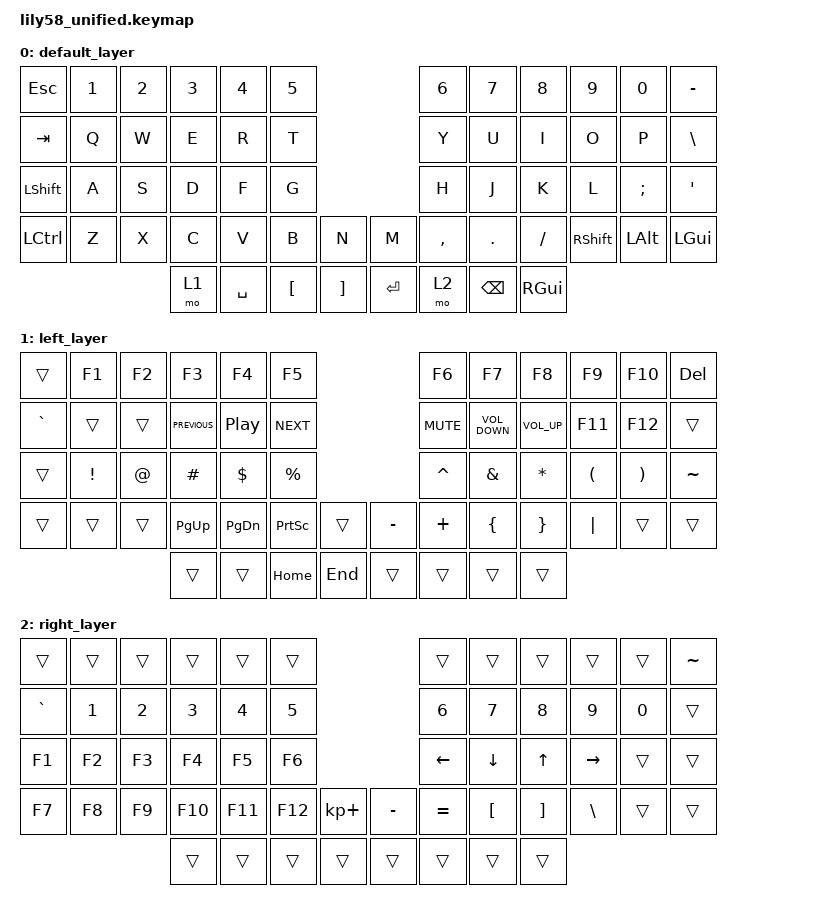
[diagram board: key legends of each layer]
/*
 * Copyright (c) 2024 The ZMK Contributors
 * SPDX-License-Identifier: MIT
 */

#include <behaviors.dtsi>
#include <dt-bindings/zmk/keys.h>

/ {
    macros {
        /* Lowercase accented vowels and special chars via Linux Ctrl+Shift+U sequence */

        m_a_acute: m_a_acute {
            compatible = "zmk,behavior-macro";
            #binding-cells = <0>;
            bindings =
                <&macro_press>,
                <&kp LCTRL &kp LSHFT>,
                <&macro_tap>,
                <&kp U>,
                <&macro_release>,
                <&kp LCTRL &kp LSHFT>,
                <&macro_tap>,
                <&kp E &kp N1>,
                <&macro_tap>,
                <&kp RET>;
        };

        m_e_acute: m_e_acute {
            compatible = "zmk,behavior-macro";
            #binding-cells = <0>;
            bindings =
                <&macro_press>,
                <&kp LCTRL &kp LSHFT>,
                <&macro_tap>,
                <&kp U>,
                <&macro_release>,
                <&kp LCTRL &kp LSHFT>,
                <&macro_tap>,
                <&kp E &kp N9>,
                <&macro_tap>,
                <&kp RET>;
        };

        m_i_acute: m_i_acute {
            compatible = "zmk,behavior-macro";
            #binding-cells = <0>;
            bindings =
                <&macro_press>,
                <&kp LCTRL &kp LSHFT>,
                <&macro_tap>,
                <&kp U>,
                <&macro_release>,
                <&kp LCTRL &kp LSHFT>,
                <&macro_tap>,
                <&kp E &kp D>,
                <&macro_tap>,
                <&kp RET>;
        };

        m_o_acute: m_o_acute {
            compatible = "zmk,behavior-macro";
            #binding-cells = <0>;
            bindings =
                <&macro_press>,
                <&kp LCTRL &kp LSHFT>,
                <&macro_tap>,
                <&kp U>,
                <&macro_release>,
                <&kp LCTRL &kp LSHFT>,
                <&macro_tap>,
                <&kp F &kp N3>,
                <&macro_tap>,
                <&kp RET>;
        };

        m_u_acute: m_u_acute {
            compatible = "zmk,behavior-macro";
            #binding-cells = <0>;
            bindings =
                <&macro_press>,
                <&kp LCTRL &kp LSHFT>,
                <&macro_tap>,
                <&kp U>,
                <&macro_release>,
                <&kp LCTRL &kp LSHFT>,
                <&macro_tap>,
                <&kp F &kp A>,
                <&macro_tap>,
                <&kp RET>;
        };

        m_enie: m_enie {
            compatible = "zmk,behavior-macro";
            #binding-cells = <0>;
            bindings =
                <&macro_press>,
                <&kp LCTRL &kp LSHFT>,
                <&macro_tap>,
                <&kp U>,
                <&macro_release>,
                <&kp LCTRL &kp LSHFT>,
                <&macro_tap>,
                <&kp F &kp N1>,
                <&macro_tap>,
                <&kp RET>;
        };

        m_inv_question: m_inv_question {
            compatible = "zmk,behavior-macro";
            #binding-cells = <0>;
            bindings =
                <&macro_press>,
                <&kp LCTRL &kp LSHFT>,
                <&macro_tap>,
                <&kp U>,
                <&macro_release>,
                <&kp LCTRL &kp LSHFT>,
                <&macro_tap>,
                <&kp B &kp F>,
                <&macro_tap>,
                <&kp RET>;
        };

        m_inv_exclaim: m_inv_exclaim {
            compatible = "zmk,behavior-macro";
            #binding-cells = <0>;
            bindings =
                <&macro_press>,
                <&kp LCTRL &kp LSHFT>,
                <&macro_tap>,
                <&kp U>,
                <&macro_release>,
                <&kp LCTRL &kp LSHFT>,
                <&macro_tap>,
                <&kp A &kp N1>,
                <&macro_tap>,
                <&kp RET>;
        };
    };

    combos {
        compatible = "zmk,combos";

        SoftOff {
            bindings = <&soft_off>;
            key-positions = <0 49 57>;
        };

        /* ' + vowel → accented vowel */

        combo_a_acute {
            timeout-ms = <50>;
            require-prior-idle-ms = <150>;
            key-positions = <35 25>;
            bindings = <&m_a_acute>;
            layers = <0>;
        };

        combo_e_acute {
            timeout-ms = <50>;
            require-prior-idle-ms = <150>;
            key-positions = <35 15>;
            bindings = <&m_e_acute>;
            layers = <0>;
        };

        combo_i_acute {
            timeout-ms = <50>;
            require-prior-idle-ms = <150>;
            key-positions = <35 20>;
            bindings = <&m_i_acute>;
            layers = <0>;
        };

        combo_o_acute {
            timeout-ms = <50>;
            require-prior-idle-ms = <150>;
            key-positions = <35 21>;
            bindings = <&m_o_acute>;
            layers = <0>;
        };

        combo_u_acute {
            timeout-ms = <50>;
            require-prior-idle-ms = <150>;
            key-positions = <35 19>;
            bindings = <&m_u_acute>;
            layers = <0>;
        };

        /* - + N → ñ */

        combo_enie {
            timeout-ms = <50>;
            require-prior-idle-ms = <150>;
            key-positions = <11 42>;
            bindings = <&m_enie>;
            layers = <0>;
        };

        /* - + / → ¿ */

        combo_inv_question {
            timeout-ms = <50>;
            require-prior-idle-ms = <150>;
            key-positions = <11 46>;
            bindings = <&m_inv_question>;
            layers = <0>;
        };

        /* - + 1 → ¡ */

        combo_inv_exclaim {
            timeout-ms = <50>;
            require-prior-idle-ms = <150>;
            key-positions = <11 1>;
            bindings = <&m_inv_exclaim>;
            layers = <0>;
        };
    };

    behaviors {
        new_behavior: new_behavior {
            compatible = "zmk,behavior-soft-off";
            label = "NEW_BEHAVIOR";
            #binding-cells = <0>;
            hold-time-ms = <5000>;
        };
    };

    keymap {
        compatible = "zmk,keymap";

        default_layer {
            // ┌────────┬────────┬────────┬────────┬────────┬────────┐                    ┌────────┬────────┬────────┬────────┬────────┬────────┐
            // │  ESC   │   1    │   2    │   3    │   4    │   5    │                    │   6    │   7    │   8    │   9    │   0    │  BSPC  │
            // ├────────┼────────┼────────┼────────┼────────┼────────┤                    ├────────┼────────┼────────┼────────┼────────┼────────┤
            // │  TAB   │   Q    │   W    │   E    │   R    │   T    │                    │   Y    │   U    │   I    │   O    │   P    │   \    │
            // ├────────┼────────┼────────┼────────┼────────┼────────┤                    ├────────┼────────┼────────┼────────┼────────┼────────┤
            // │  CTRL  │   A    │   S    │   D    │   F    │   G    │                    │   H    │   J    │   K    │   L    │   ;    │   '    │
            // ├────────┼────────┼────────┼────────┼────────┼────────┼────────┐  ┌────────┼────────┼────────┼────────┼────────┼────────┼────────┤
            // │ SHIFT  │   Z    │   X    │   C    │   V    │   B    │   [    │  │   ]    │   N    │   M    │   ,    │   .    │   /    │ SHIFT  │
            // └────────┴────────┴────────┼────────┼────────┼────────┼────────┤  ├────────┼────────┼────────┼────────┼────────┴────────┴────────┘
            //                            │  ALT   │  GUI   │ LOWER  │ SPACE  │  │ ENTER  │ RAISE  │  BSPC  │  GUI   │
            //                            └────────┴────────┴────────┴────────┘  └────────┴────────┴────────┴────────┘

            bindings = <
&kp ESC         &kp N1    &kp N2  &kp N3     &kp N4    &kp N5    &kp N6   &kp N7  &kp N8     &kp N9    &kp N0    &kp MINUS
&kp TAB         &kp Q     &kp W   &kp E      &kp R     &kp T     &kp Y    &kp U   &kp I      &kp O     &kp P     &kp BSLH
&kp LEFT_SHIFT  &kp A     &kp S   &kp D      &kp F     &kp G     &kp H    &kp J   &kp K      &kp L     &kp SEMI  &kp SQT
&kp LCTRL       &kp Z     &kp X   &kp C      &kp V     &kp B     &kp N    &kp M   &kp COMMA  &kp DOT   &kp FSLH  &kp RSHFT
&kp LALT        &kp LGUI  &mo 1   &kp SPACE  &kp LBKT  &kp RBKT  &kp RET  &mo 2   &kp BSPC   &kp RGUI
            >;
        };

        left_layer {
            // ┌────────┬────────┬────────┬────────┬────────┬────────┐                    ┌────────┬────────┬────────┬────────┬────────┬────────┐
            // │        │  F1    │  F2    │  F3    │  F4    │  F5    │                    │  F6    │  F7    │  F8    │  F9    │  F10   │  DEL   │
            // ├────────┼────────┼────────┼────────┼────────┼────────┤                    ├────────┼────────┼────────┼────────┼────────┼────────┤
            // │        │        │        │        │        │        │                    │        │        │        │  F11   │  F12   │        │
            // ├────────┼────────┼────────┼────────┼────────┼────────┤                    ├────────┼────────┼────────┼────────┼────────┼────────┤
            // │        │   !    │   @    │   #    │   $    │   %    │                    │   ^    │   &    │   *    │   (    │   )    │   ~    │
            // ├────────┼────────┼────────┼────────┼────────┼────────┼────────┐  ┌────────┼────────┼────────┼────────┼────────┼────────┼────────┤
            // │        │        │        │        │        │        │        │  │        │        │   _    │   +    │   {    │   }    │   |    │
            // └────────┴────────┴────────┼────────┼────────┼────────┼────────┤  ├────────┼────────┼────────┼────────┼────────┴────────┴────────┘
            //                            │        │        │        │        │  │        │        │        │        │
            //                            └────────┴────────┴────────┴────────┘  └────────┴────────┴────────┴────────┘

            bindings = <
&trans     &kp F1    &kp F2  &kp F3          &kp F4            &kp F5           &kp F6      &kp F7             &kp F8           &kp F9    &kp F10   &kp DEL
&kp GRAVE  &trans    &trans  &kp C_PREVIOUS  &kp C_PLAY_PAUSE  &kp C_NEXT       &kp C_MUTE  &kp C_VOLUME_DOWN  &kp C_VOLUME_UP  &kp F11   &kp F12   &trans
&trans     &kp EXCL  &kp AT  &kp HASH        &kp DLLR          &kp PRCNT        &kp CARET   &kp AMPS           &kp ASTRK        &kp LPAR  &kp RPAR  &kp TILDE
&trans     &trans    &trans  &kp PAGE_UP     &kp PAGE_DOWN     &kp PRINTSCREEN  &trans      &kp MINUS          &kp PLUS         &kp LBRC  &kp RBRC  &kp PIPE
&trans     &trans    &trans  &trans          &kp HOME          &kp END          &trans      &trans             &trans           &trans
            >;
        };

        right_layer {
            // ┌────────┬────────┬────────┬────────┬────────┬────────┐                    ┌────────┬────────┬────────┬────────┬────────┬────────┐
            // │        │        │        │        │        │        │                    │        │        │        │        │        │        │
            // ├────────┼────────┼────────┼────────┼────────┼────────┤                    ├────────┼────────┼────────┼────────┼────────┼────────┤
            // │   `    │   1    │   2    │   3    │   4    │   5    │                    │   6    │   7    │   8    │   9    │   0    │        │
            // ├────────┼────────┼────────┼────────┼────────┼────────┤                    ├────────┼────────┼────────┼────────┼────────┼────────┤
            // │  F1    │  F2    │  F3    │  F4    │  F5    │  F6    │                    │        │  LEFT  │  DOWN  │   UP   │ RIGHT  │        │
            // ├────────┼────────┼────────┼────────┼────────┼────────┼────────┐  ┌────────┼────────┼────────┼────────┼────────┼────────┼────────┤
            // │  F7    │  F8    │  F9    │  F10   │  F11   │  F12   │        │  │        │   +    │   -    │   =    │   [    │   ]    │   \    │
            // └────────┴────────┴────────┼────────┼────────┼────────┼────────┤  ├────────┼────────┼────────┼────────┼────────┴────────┴────────┘
            //                            │        │        │        │        │  │        │        │        │        │
            //                            └────────┴────────┴────────┴────────┘  └────────┴────────┴────────┴────────┘

            bindings = <
&trans     &trans  &trans  &trans   &trans   &trans   &trans       &trans     &trans     &trans     &trans    &kp TILDE
&kp GRAVE  &kp N1  &kp N2  &kp N3   &kp N4   &kp N5   &kp N6       &kp N7     &kp N8     &kp N9     &kp N0    &trans
&kp F1     &kp F2  &kp F3  &kp F4   &kp F5   &kp F6   &kp LEFT     &kp DOWN   &kp UP     &kp RIGHT  &trans    &trans
&kp F7     &kp F8  &kp F9  &kp F10  &kp F11  &kp F12  &kp KP_PLUS  &kp MINUS  &kp EQUAL  &kp LBKT   &kp RBKT  &kp BSLH
&trans     &trans  &trans  &trans   &trans   &trans   &trans       &trans     &trans     &trans
            >;
        };
    };
};
